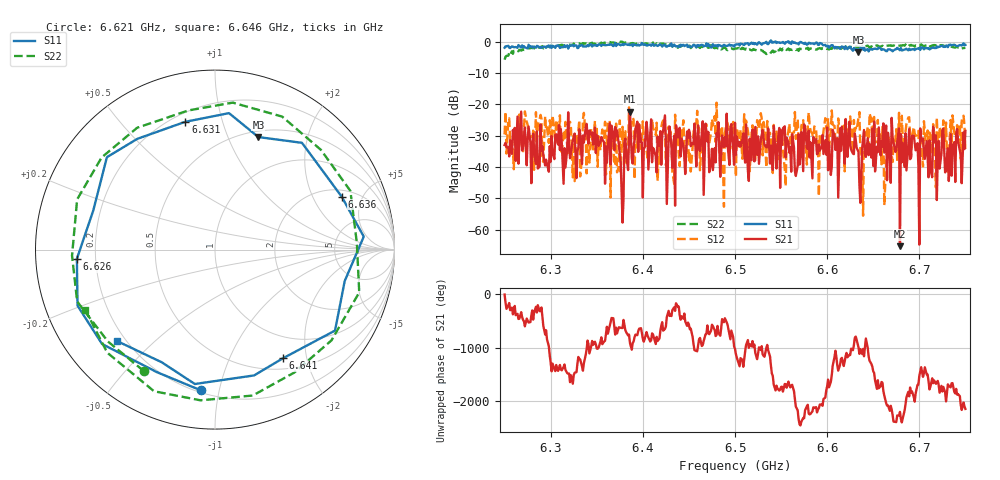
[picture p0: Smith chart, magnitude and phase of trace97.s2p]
# Hz S RI R 50
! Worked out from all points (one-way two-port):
!   401 points, 6.25 GHz to 6.75 GHz, reference 50 ohm
!   highest |S21| = -22.31 dB at 6.386 GHz (marker M1); lowest = -65.2 dB at 6.679 GHz (marker M2)
!   lowest |S11| = -3.5 dB at 6.634 GHz (marker M3), VSWR 5.10, Z = 28.3 + j64.8 ohm
!   |S11| at or under -10 dB: nowhere
!   |S22| runs from -5.8 to 0.0 dB; largest |S21 - S12| = 0.14
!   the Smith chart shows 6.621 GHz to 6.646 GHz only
!   S11 on the Smith chart (normalised r, x): 6.621 GHz: 0.21, -0.88; 6.626 GHz: 0.13, -0.03; 6.631 GHz: 0.25, +0.76; 6.636 GHz: 2.39, +3.40; 6.641 GHz: 0.65, -1.61; 6.646 GHz: 0.17, -0.38
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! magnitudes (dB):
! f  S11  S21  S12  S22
! 6.25 GHz  -2.0  -33.0  -29.6  -5.8
! 6.334 GHz  -1.1  -39.0  -37.2  -0.7
! 6.369 GHz  -1.2  -34.6  -38.7  -0.4
! 6.376 GHz  -1.2  -38.8  -41.6  0.0
! 6.386 GHz  -1.2  -22.3  -30.4  -0.7
! 6.418 GHz  -1.0  -33.3  -30.9  -1.1
! 6.5 GHz  -1.1  -25.9  -27.4  -2.2
! 6.584 GHz  -0.6  -43.6  -29.5  -2.4
! 6.621 GHz  -2.1  -33.2  -27.0  -2.1
! 6.626 GHz  -2.3  -34.4  -27.0  -1.8
! 6.631 GHz  -2.7  -31.3  -27.4  -1.7
! 6.634 GHz  -3.5  -35.2  -24.2  -1.8
! 6.636 GHz  -2.3  -51.4  -34.5  -2.0
! 6.641 GHz  -2.9  -35.7  -28.8  -1.5
! 6.646 GHz  -2.5  -32.7  -22.9  -2.0
! 6.668 GHz  -2.5  -36.7  -32.4  -1.3
! 6.679 GHz  -2.8  -65.2  -35.7  -1.3
! 6.695 GHz  -2.7  -32.4  -29.3  -1.6
! 6.698 GHz  -2.2  -32.4  -29.0  -1.4
! 6.704 GHz  -2.0  -30.8  -39.8  -1.4
! 6.73 GHz  -1.4  -36.9  -35.9  -1.4
! 6.75 GHz  -1.1  -28.4  -34.8  -2.0
